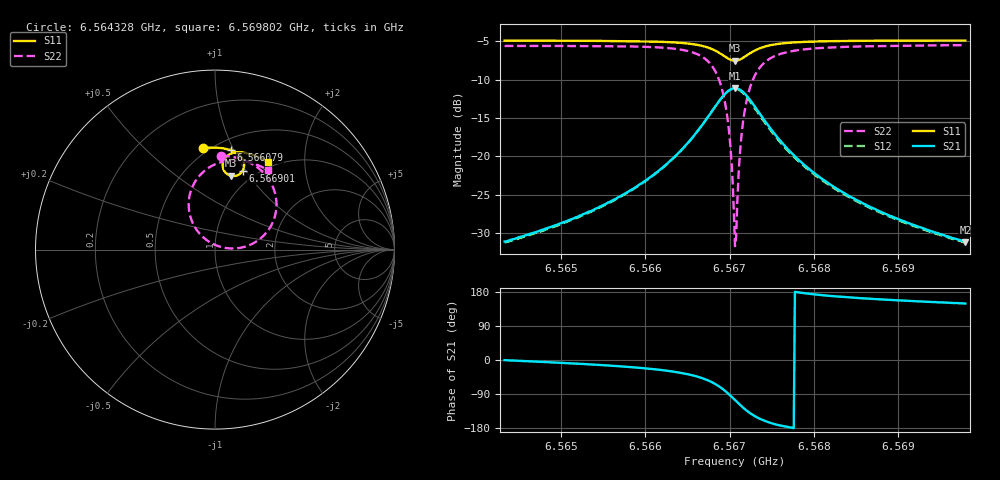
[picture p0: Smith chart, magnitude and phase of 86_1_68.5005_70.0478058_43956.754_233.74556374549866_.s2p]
#  HZ  S  RI  R  50.00
! Rohde & Schwarz Vector Network Analyzer
! Rohde-Schwarz,ZNB20-2Port,1311601062101988,3.16
! Created: UTC 3/20/2024, 5:07:35 PM
! freq[Hz]  re:S11  im:S11  re:S21  im:S21  re:S12  im:S12  re:S22  im:S22
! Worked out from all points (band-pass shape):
!   401 points, 6.564328 GHz to 6.569802 GHz, reference 50 ohm
!   highest |S21| = -11.10 dB at 6.567065 GHz (marker M1); lowest = -31.2 dB at 6.569802 GHz (marker M2)
!   |S21| within 3 dB of the highest: 6.566792 GHz to 6.567339 GHz (546.9 kHz wide, 0.00833 % of centre)
!   lowest |S11| = -7.5 dB at 6.567065 GHz (marker M3), VSWR 2.45, Z = 41.2 + j41.2 ohm
!   |S11| at or under -10 dB: nowhere
!   |S22| runs from -31.7 to -5.5 dB; largest |S21 - S12| = 0.013
!   S11 on the Smith chart (normalised r, x): 6.564328 GHz: 0.47, +0.78; 6.566079 GHz: 0.60, +0.97; 6.566901 GHz: 0.86, +0.97; 6.569802 GHz: 0.92, +1.33
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6.5643277e9  -0.0649 0.5652  0.0278 -0.000277  0.0273 -0.000703  0.0344 0.5241
6.5652446e9  0.01 0.5676  0.0407 -0.00756  0.0402 -0.00802  0.121 0.5112
6.5660794e9  0.0874 0.5547  0.0684 -0.0302  0.0673 -0.031  0.2281 0.4635
6.5661616e9  0.0961 0.5516  0.0728 -0.0351  0.0718 -0.036  0.2419 0.4535
6.5664626e9  0.1305 0.5325  0.0937 -0.0672  0.0922 -0.0685  0.3009 0.39
6.5666816e9  0.1557 0.5015  0.1074 -0.1212  0.1051 -0.1235  0.3403 0.2861
6.5668048e9  0.1625 0.4704  0.1002 -0.1754  0.0959 -0.1785  0.3328 0.1826
6.5669006e9  0.1536 0.4391  0.0675 -0.2288  0.0602 -0.232  0.2749 0.0821
6.5669827e9  0.1282 0.4158  0.00736 -0.2667  -0.00331 -0.2668  0.1647 0.0154
6.56701e9  0.1161 0.4115  -0.019 -0.2723  -0.0304 -0.2708  0.1169 0.0068
6.5670511e9  0.0962 0.4101  -0.0613 -0.2713  -0.073 -0.2666  0.0416 0.0126
6.5670648e9  0.0895 0.4112  -0.0753 -0.2682  -0.0867 -0.2625  0.0169 0.0197
6.5670785e9  0.083 0.413  -0.089 -0.2637  -0.1 -0.2569  -0.00656 0.0293
6.5670922e9  0.0768 0.4153  -0.1021 -0.2578  -0.1126 -0.2501  -0.0287 0.0413
6.5671195e9  0.0655 0.4226  -0.1257 -0.2425  -0.1348 -0.2335  -0.0681 0.0709
6.5671606e9  0.0527 0.4366  -0.1536 -0.2137  -0.16 -0.203  -0.1121 0.1252
6.5672153e9  0.0438 0.4582  -0.1747 -0.1708  -0.1776 -0.1598  -0.1421 0.2028
6.5672838e9  0.0442 0.4834  -0.1807 -0.1218  -0.1804 -0.112  -0.1437 0.2887
6.5675301e9  0.0813 0.5309  -0.1389 -0.0274  -0.1359 -0.0233  -0.0479 0.4472
6.5679817e9  0.1443 0.5423  -0.0793 0.00847  -0.0773 0.0097  0.0875 0.4973
6.5688986e9  0.2292 0.5211  -0.0383 0.015  -0.0375 0.0152  0.2173 0.479
6.5698019e9  0.2956 0.4883  -0.0236 0.0142  -0.0232 0.0144  0.2959 0.4424
